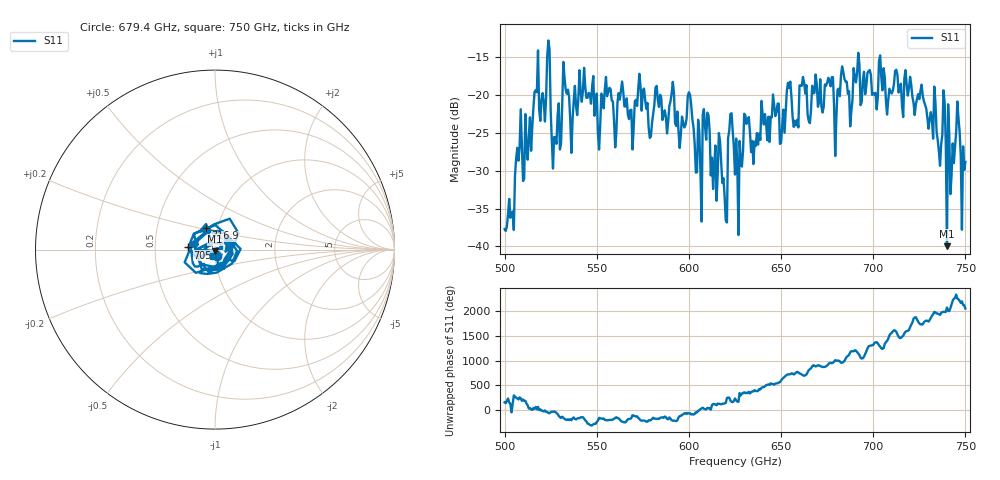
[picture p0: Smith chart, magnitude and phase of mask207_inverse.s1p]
!Created with skrf (http://scikit-rf.org).
# GHz S MA R 50.0
!freq magS11 angS11
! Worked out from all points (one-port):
!   401 points, 500 GHz to 750 GHz, reference 50 ohm
!   lowest |S11| = -40.0 dB at 740 GHz (marker M1), VSWR 1.02, Z = 50 - j1 ohm
!   |S11| at or under -10 dB: start of sweep to end of sweep
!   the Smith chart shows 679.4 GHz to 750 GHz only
!   S11 on the Smith chart (normalised r, x): 679.4 GHz: 1.02, -0.08; 705.6 GHz: 0.74, +0.02; 716.9 GHz: 0.88, +0.21; 750 GHz: 0.98, -0.07
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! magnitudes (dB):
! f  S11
! 500 GHz  -37.7
! 516.9 GHz  -19.4
! 520.6 GHz  -19.7
! 523.8 GHz  -12.8
! 526.9 GHz  -25.5
! 531.2 GHz  -21.3
! 562.5 GHz  -20.6
! 579.4 GHz  -25.5
! 590.6 GHz  -19.8
! 593.8 GHz  -22.2
! 600.6 GHz  -20.0
! 605.6 GHz  -24.8
! 609.4 GHz  -25.9
! 619.4 GHz  -33.4
! 622.5 GHz  -22.5
! 625 GHz  -30.5
! 656.2 GHz  -22.9
! 676.9 GHz  -18.8
! 679.4 GHz  -28.0
! 683.8 GHz  -16.9
! 687.5 GHz  -24.1
! 690.6 GHz  -18.3
! 705.6 GHz  -16.4
! 716.9 GHz  -17.8
! 718.8 GHz  -20.1
! 740 GHz  -40.0
! 745.6 GHz  -20.8
! 750 GHz  -28.8
